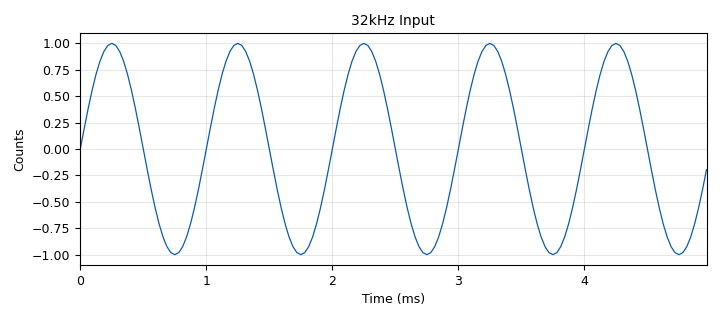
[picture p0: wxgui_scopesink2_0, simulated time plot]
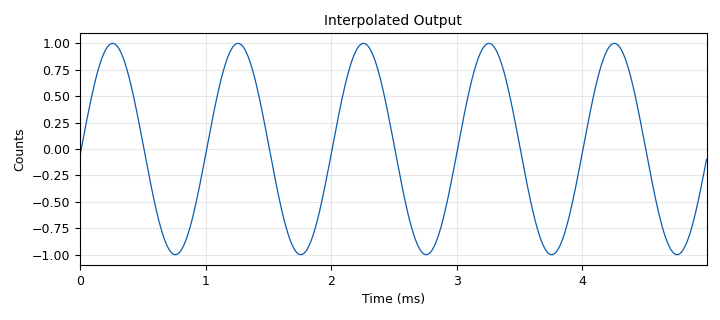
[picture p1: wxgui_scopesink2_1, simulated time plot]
<?xml version='1.0' encoding='utf-8'?>
<?grc format='1' created='3.7.7'?>
<flow_graph>
<block>
<key>options</key>
<param><key>id</key><value>top_block</value></param>
<param><key>generate_options</key><value>wx_gui</value></param>
<param><key>category</key><value>Custom</value></param>
</block>
<block>
<key>variable</key>
<param><key>id</key><value>samp_rate</value></param>
<param><key>value</key><value>32000</value></param>
</block>
<block>
<key>blocks_throttle</key>
<param><key>id</key><value>blocks_throttle_0</value></param>
<param><key>type</key><value>float</value></param>
<param><key>samples_per_second</key><value>samp_rate</value></param>
</block>
<block>
<key>wxgui_scopesink2</key>
<param><key>id</key><value>wxgui_scopesink2_0</value></param>
<param><key>type</key><value>float</value></param>
<param><key>title</key><value>32kHz Input</value></param>
<param><key>samp_rate</key><value>samp_rate</value></param>
<param><key>v_scale</key><value>0</value></param>
<param><key>v_offset</key><value>0</value></param>
<param><key>t_scale</key><value>0.5e-3</value></param>
<param><key>ac_couple</key><value>False</value></param>
<param><key>xy_mode</key><value>False</value></param>
<param><key>num_inputs</key><value>1</value></param>
<param><key>trig_mode</key><value>wxgui.TRIG_MODE_AUTO</value></param>
<param><key>y_axis_label</key><value>Counts</value></param>
</block>
<block>
<key>analog_sig_source_x</key>
<param><key>id</key><value>analog_sig_source_x_0</value></param>
<param><key>type</key><value>float</value></param>
<param><key>samp_rate</key><value>samp_rate</value></param>
<param><key>waveform</key><value>analog.GR_COS_WAVE</value></param>
<param><key>freq</key><value>1000</value></param>
<param><key>amp</key><value>1</value></param>
<param><key>offset</key><value>0</value></param>
</block>
<block>
<key>rational_resampler_xxx</key>
<param><key>id</key><value>rational_resampler_xxx_0</value></param>
<param><key>type</key><value>fff</value></param>
<param><key>interp</key><value>4</value></param>
<param><key>decim</key><value>1</value></param>
<param><key>taps</key><value></value></param>
</block>
<block>
<key>wxgui_scopesink2</key>
<param><key>id</key><value>wxgui_scopesink2_1</value></param>
<param><key>type</key><value>float</value></param>
<param><key>title</key><value>Interpolated Output</value></param>
<param><key>samp_rate</key><value>samp_rate*4</value></param>
<param><key>v_scale</key><value>0</value></param>
<param><key>v_offset</key><value>0</value></param>
<param><key>t_scale</key><value>0.5e-3</value></param>
<param><key>ac_couple</key><value>False</value></param>
<param><key>xy_mode</key><value>False</value></param>
<param><key>num_inputs</key><value>1</value></param>
<param><key>trig_mode</key><value>wxgui.TRIG_MODE_AUTO</value></param>
<param><key>y_axis_label</key><value>Counts</value></param>
</block>
<connection><source_block_id>analog_sig_source_x_0</source_block_id><sink_block_id>blocks_throttle_0</sink_block_id><source_key>0</source_key><sink_key>0</sink_key></connection>
<connection><source_block_id>blocks_throttle_0</source_block_id><sink_block_id>rational_resampler_xxx_0</sink_block_id><source_key>0</source_key><sink_key>0</sink_key></connection>
<connection><source_block_id>rational_resampler_xxx_0</source_block_id><sink_block_id>wxgui_scopesink2_1</sink_block_id><source_key>0</source_key><sink_key>0</sink_key></connection>
<connection><source_block_id>blocks_throttle_0</source_block_id><sink_block_id>wxgui_scopesink2_0</sink_block_id><source_key>0</source_key><sink_key>0</sink_key></connection>
</flow_graph>
